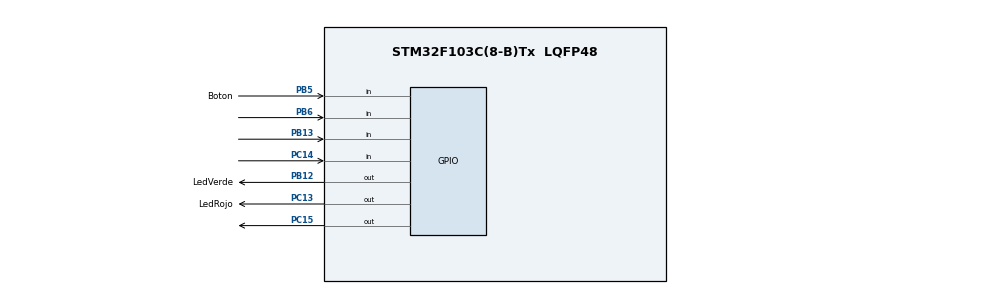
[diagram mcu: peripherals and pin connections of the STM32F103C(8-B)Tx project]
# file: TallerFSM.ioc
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Mcu.Family=STM32F1
Mcu.Name=STM32F103C(8-B)Tx
Mcu.Package=LQFP48
NVIC.PriorityGroup=NVIC_PRIORITYGROUP_4
PA13.Mode=Serial_Wire
PA13.Signal=SYS_JTMS-SWDIO
PA14.Mode=Serial_Wire
PA14.Signal=SYS_JTCK-SWCLK
PB12.GPIO_Label=LedVerde
PB12.GPIO_PuPd=GPIO_PULLDOWN
PB12.PinState=GPIO_PIN_RESET
PB12.Signal=GPIO_Output
PB13.GPIO_PuPd=GPIO_PULLDOWN
PB13.Signal=GPIO_Input
PB5.GPIO_Label=Boton
PB5.GPIO_PuPd=GPIO_PULLDOWN
PB5.Signal=GPIO_Input
PB6.GPIO_PuPd=GPIO_PULLDOWN
PB6.Signal=GPIO_Input
PC13-TAMPER-RTC.GPIO_Label=LedRojo
PC13-TAMPER-RTC.GPIO_PuPd=GPIO_PULLDOWN
PC13-TAMPER-RTC.Signal=GPIO_Output
PC14-OSC32_IN.GPIO_PuPd=GPIO_PULLDOWN
PC14-OSC32_IN.Signal=GPIO_Input
PC15-OSC32_OUT.GPIO_PuPd=GPIO_PULLDOWN
PC15-OSC32_OUT.Signal=GPIO_Output
ProjectManager.HeapSize=0x200
ProjectManager.StackSize=0x400
ProjectManager.TargetToolchain=STM32CubeIDE
RCC.APB1Freq_Value=8000000
RCC.APB2Freq_Value=8000000
board=custom

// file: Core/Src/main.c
/* USER CODE BEGIN Header */
/**
  ******************************************************************************
  * @file           : main.c
  * @brief          : Main program body
  ******************************************************************************
  * @attention
  *
  * Copyright (c) 2024 STMicroelectronics.
  * All rights reserved.
  *
  * This software is licensed under terms that can be found in the LICENSE file
  * in the root directory of this software component.
  * If no LICENSE file comes with this software, it is provided AS-IS.
  *
  ******************************************************************************
  */
/* USER CODE END Header */
#include "main.h"

/* USER CODE BEGIN Includes */
#include <string.h>
#include <stdio.h>

#include "blink_control.h"
#include "timer_period_manager.h"
#include "timer.h"
#include "modulo_ejemplo.h"

/* USER CODE END Includes */

/* USER CODE BEGIN PV */
// Low-power mode aids
Timer tick;
Timer timer1, timer2;
int periodo = 0;
int periodo2 = 2000000;
int *p = &periodo;
int *p2  = &periodo2;
const int TICK_RATE_MS = 10;

DebouncedSwitch debounced_button1, debounced_button2;
EdgeDetector edge_detector1, edge_detector2;
BlinkControl blink_control_led1, blink_control_led2;
TimerPeriodManager period_manager1, period_manager2;
/* USER CODE END PV */

void SystemClock_Config(void);
static void MX_GPIO_Init(void);

int main(void)
{

  /* MCU Configuration--------------------------------------------------------*/

  /* Reset of all peripherals, Initializes the Flash interface and the Systick. */
  HAL_Init();

  /* Configure the system clock */
  SystemClock_Config();

  /* Initialize all configured peripherals */
  MX_GPIO_Init();
  /* USER CODE BEGIN 2 */
  ModuloEjemplo ejemplo;
  HAL_GPIO_WritePin(GPIOC, GPIO_PIN_13, GPIO_PIN_SET);
  blink_control_init(&blink_control_led1, GPIOC, GPIO_PIN_15, periodo);
  blink_control_init(&blink_control_led2, GPIOC, GPIO_PIN_13, periodo2);

  modulo_ejemplo_init(&ejemplo, GPIOC, GPIO_PIN_13, GPIO_PIN_14, GPIO_PIN_15, timer1, timer2, p, p2, &blink_control_led1);

  /* USER CODE END 2 */

  /* Infinite loop */
  /* USER CODE BEGIN WHILE */
  while (1)
  {
	modulo_ejemplo_update(&ejemplo);
    blink_control_set_period(&blink_control_led1, periodo);
    blink_control_set_period(&blink_control_led2, periodo2);
	blink_control_update(&blink_control_led1);
    blink_control_update(&blink_control_led2);

    /* USER CODE END WHILE */

  }
}

void SystemClock_Config(void)
{
  RCC_OscInitTypeDef RCC_OscInitStruct = {0};
  RCC_ClkInitTypeDef RCC_ClkInitStruct = {0};

  /** Initializes the RCC Oscillators according to the specified parameters
  * in the RCC_OscInitTypeDef structure.
  */
  RCC_OscInitStruct.OscillatorType = RCC_OSCILLATORTYPE_HSI;
  RCC_OscInitStruct.HSIState = RCC_HSI_ON;
  RCC_OscInitStruct.HSICalibrationValue = RCC_HSICALIBRATION_DEFAULT;
  RCC_OscInitStruct.PLL.PLLState = RCC_PLL_NONE;
  if (HAL_RCC_OscConfig(&RCC_OscInitStruct) != HAL_OK)
  {
    Error_Handler();
  }

  /** Initializes the CPU, AHB and APB buses clocks
  */
  RCC_ClkInitStruct.ClockType = RCC_CLOCKTYPE_HCLK|RCC_CLOCKTYPE_SYSCLK
                              |RCC_CLOCKTYPE_PCLK1|RCC_CLOCKTYPE_PCLK2;
  RCC_ClkInitStruct.SYSCLKSource = RCC_SYSCLKSOURCE_HSI;
  RCC_ClkInitStruct.AHBCLKDivider = RCC_SYSCLK_DIV1;
  RCC_ClkInitStruct.APB1CLKDivider = RCC_HCLK_DIV1;
  RCC_ClkInitStruct.APB2CLKDivider = RCC_HCLK_DIV1;

  if (HAL_RCC_ClockConfig(&RCC_ClkInitStruct, FLASH_LATENCY_0) != HAL_OK)
  {
    Error_Handler();
  }
}

static void MX_GPIO_Init(void)
{
  GPIO_InitTypeDef GPIO_InitStruct = {0};

  /* GPIO Ports Clock Enable */
  __HAL_RCC_GPIOC_CLK_ENABLE();
  __HAL_RCC_GPIOB_CLK_ENABLE();
  __HAL_RCC_GPIOA_CLK_ENABLE();

  /*Configure GPIO pin Output Level */
  HAL_GPIO_WritePin(GPIOC, LedRojo_Pin|GPIO_PIN_15, GPIO_PIN_RESET);

  /*Configure GPIO pin Output Level */
  HAL_GPIO_WritePin(LedVerde_GPIO_Port, LedVerde_Pin, GPIO_PIN_RESET);

  /*Configure GPIO pins : LedRojo_Pin PC15 */
  GPIO_InitStruct.Pin = LedRojo_Pin|GPIO_PIN_15;
  GPIO_InitStruct.Mode = GPIO_MODE_OUTPUT_PP;
  GPIO_InitStruct.Pull = GPIO_PULLDOWN;
  GPIO_InitStruct.Speed = GPIO_SPEED_FREQ_LOW;
  HAL_GPIO_Init(GPIOC, &GPIO_InitStruct);

  /*Configure GPIO pin : PC14 */
  GPIO_InitStruct.Pin = GPIO_PIN_14;
  GPIO_InitStruct.Mode = GPIO_MODE_INPUT;
  GPIO_InitStruct.Pull = GPIO_PULLDOWN;
  HAL_GPIO_Init(GPIOC, &GPIO_InitStruct);

  /*Configure GPIO pin : LedVerde_Pin */
  GPIO_InitStruct.Pin = LedVerde_Pin;
  GPIO_InitStruct.Mode = GPIO_MODE_OUTPUT_PP;
  GPIO_InitStruct.Pull = GPIO_PULLDOWN;
  GPIO_InitStruct.Speed = GPIO_SPEED_FREQ_LOW;
  HAL_GPIO_Init(LedVerde_GPIO_Port, &GPIO_InitStruct);

  /*Configure GPIO pins : PB13 Boton_Pin PB6 */
  GPIO_InitStruct.Pin = GPIO_PIN_13|Boton_Pin|GPIO_PIN_6;
  GPIO_InitStruct.Mode = GPIO_MODE_INPUT;
  GPIO_InitStruct.Pull = GPIO_PULLDOWN;
  HAL_GPIO_Init(GPIOB, &GPIO_InitStruct);

}

/* USER CODE BEGIN 4 */
/**
  * @brief  Retargets the C library printf function to the USART.
  *   None
  * @retval None
  */

/* USER CODE END 4 */

void Error_Handler(void)
{
  __disable_irq();
  while (1)
  {
  }
}
